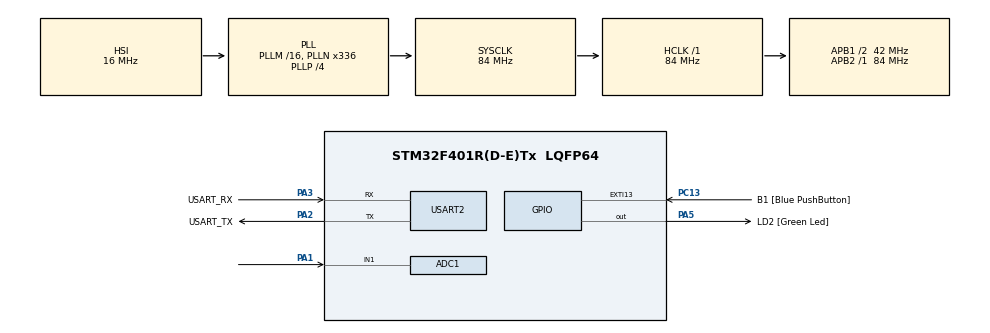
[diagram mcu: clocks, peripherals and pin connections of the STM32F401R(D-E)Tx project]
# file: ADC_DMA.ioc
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ADC1.Channel-0\#ChannelRegularConversion=ADC_CHANNEL_1
ADC1.Channel-1\#ChannelInjectedConversion=ADC_CHANNEL_1
ADC1.Channel-2\#ChannelInjectedConversion=ADC_CHANNEL_1
ADC1.Channel-3\#ChannelInjectedConversion=ADC_CHANNEL_1
ADC1.Channel-4\#ChannelRegularConversion=ADC_CHANNEL_TEMPSENSOR
ADC1.Channel-5\#ChannelRegularConversion=ADC_CHANNEL_VREFINT
ADC1.InjNumberOfConversion=3
ADC1.InjectedOffset-1\#ChannelInjectedConversion=0
ADC1.InjectedOffset-2\#ChannelInjectedConversion=0
ADC1.InjectedOffset-3\#ChannelInjectedConversion=0
ADC1.InjectedRank-1\#ChannelInjectedConversion=1
ADC1.InjectedRank-2\#ChannelInjectedConversion=2
ADC1.InjectedRank-3\#ChannelInjectedConversion=3
ADC1.NbrOfConversion=3
ADC1.NbrOfConversionFlag=1
ADC1.Rank-0\#ChannelRegularConversion=1
ADC1.Rank-4\#ChannelRegularConversion=2
ADC1.Rank-5\#ChannelRegularConversion=3
ADC1.SamplingTime-0\#ChannelRegularConversion=ADC_SAMPLETIME_480CYCLES
ADC1.SamplingTime-1\#ChannelInjectedConversion=ADC_SAMPLETIME_3CYCLES
ADC1.SamplingTime-2\#ChannelInjectedConversion=ADC_SAMPLETIME_3CYCLES
ADC1.SamplingTime-3\#ChannelInjectedConversion=ADC_SAMPLETIME_3CYCLES
ADC1.SamplingTime-4\#ChannelRegularConversion=ADC_SAMPLETIME_3CYCLES
ADC1.SamplingTime-5\#ChannelRegularConversion=ADC_SAMPLETIME_3CYCLES
ADC1.master=1
Dma.ADC1.0.Direction=DMA_PERIPH_TO_MEMORY
Dma.ADC1.0.FIFOMode=DMA_FIFOMODE_DISABLE
Dma.ADC1.0.Instance=DMA2_Stream0
Dma.ADC1.0.MemDataAlignment=DMA_MDATAALIGN_HALFWORD
Dma.ADC1.0.MemInc=DMA_MINC_ENABLE
Dma.ADC1.0.Mode=DMA_CIRCULAR
Dma.ADC1.0.PeriphDataAlignment=DMA_PDATAALIGN_HALFWORD
Dma.ADC1.0.PeriphInc=DMA_PINC_DISABLE
Dma.ADC1.0.Priority=DMA_PRIORITY_LOW
Dma.Request0=ADC1
Mcu.Family=STM32F4
Mcu.Name=STM32F401R(D-E)Tx
Mcu.Package=LQFP64
NVIC.ADC_IRQn=true\:0\:0\:false\:false\:true\:true\:true
NVIC.DMA2_Stream0_IRQn=true\:0\:0\:false\:false\:true\:false\:true
NVIC.PriorityGroup=NVIC_PRIORITYGROUP_0
NVIC.USART2_IRQn=true\:0\:0\:false\:false\:true\:true\:true
PA1.Signal=ADCx_IN1
PA13.GPIO_Label=TMS
PA13.Mode=Serial_Wire
PA13.Signal=SYS_JTMS-SWDIO
PA14.GPIO_Label=TCK
PA14.Mode=Serial_Wire
PA14.Signal=SYS_JTCK-SWCLK
PA2.GPIO_Label=USART_TX
PA2.GPIO_Mode=GPIO_MODE_AF_PP
PA2.GPIO_PuPd=GPIO_NOPULL
PA2.GPIO_Speed=GPIO_SPEED_FREQ_LOW
PA2.Mode=Asynchronous
PA2.Signal=USART2_TX
PA3.GPIO_Label=USART_RX
PA3.GPIO_Mode=GPIO_MODE_AF_PP
PA3.GPIO_PuPd=GPIO_NOPULL
PA3.GPIO_Speed=GPIO_SPEED_FREQ_LOW
PA3.Mode=Asynchronous
PA3.Signal=USART2_RX
PA5.GPIO_Label=LD2 [Green Led]
PA5.GPIO_Mode=GPIO_MODE_OUTPUT_PP
PA5.GPIO_PuPd=GPIO_NOPULL
PA5.GPIO_Speed=GPIO_SPEED_FREQ_LOW
PA5.Signal=GPIO_Output
PB3.GPIO_Label=SWO
PB3.Signal=SYS_JTDO-SWO
PC13-ANTI_TAMP.GPIO_Label=B1 [Blue PushButton]
PC13-ANTI_TAMP.GPIO_ModeDefaultEXTI=GPIO_MODE_IT_FALLING
PC13-ANTI_TAMP.GPIO_PuPd=GPIO_NOPULL
PC13-ANTI_TAMP.Signal=GPXTI13
PC14-OSC32_IN.Mode=LSE-External-Oscillator
PC14-OSC32_IN.Signal=RCC_OSC32_IN
PC15-OSC32_OUT.Mode=LSE-External-Oscillator
PC15-OSC32_OUT.Signal=RCC_OSC32_OUT
PH0\ -\ OSC_IN.Mode=HSE-External-Clock-Source
PH0\ -\ OSC_IN.Signal=RCC_OSC_IN
PH1\ -\ OSC_OUT.Mode=HSE-External-Clock-Source
PH1\ -\ OSC_OUT.Signal=RCC_OSC_OUT
ProjectManager.HeapSize=0x200
ProjectManager.StackSize=0x400
ProjectManager.TargetToolchain=STM32CubeIDE
RCC.48MHZClocksFreq_Value=48000000
RCC.AHBFreq_Value=84000000
RCC.APB1CLKDivider=RCC_HCLK_DIV2
RCC.APB1Freq_Value=42000000
RCC.APB1TimFreq_Value=84000000
RCC.APB2Freq_Value=84000000
RCC.APB2TimFreq_Value=84000000
RCC.CortexFreq_Value=84000000
RCC.HCLKFreq_Value=84000000
RCC.HSE_VALUE=8000000
RCC.HSI_VALUE=16000000
RCC.PLLN=336
RCC.PLLP=RCC_PLLP_DIV4
RCC.PLLQ=7
RCC.SYSCLKFreq_VALUE=84000000
RCC.SYSCLKSource=RCC_SYSCLKSOURCE_PLLCLK
RCC.VCOOutputFreq_Value=336000000
SH.ADCx_IN1.0=ADC1_IN1,IN1
USART2.VirtualMode=VM_ASYNC
VP_ADC1_TempSens_Input.Mode=IN-TempSens
VP_ADC1_Vref_Input.Mode=IN-Vrefint
board=NUCLEO-F401RE

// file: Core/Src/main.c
/* USER CODE BEGIN Header */
/**
  ******************************************************************************
  * @file           : main.c
  * @brief          : Main program body
  ******************************************************************************
  * @attention
  *
  * <h2><center>&copy; Copyright (c) 2021 STMicroelectronics.
  * All rights reserved.</center></h2>
  *
  * This software component is licensed by ST under BSD 3-Clause license,
  * the "License"; You may not use this file except in compliance with the
  * License. You may obtain a copy of the License at:
  *                        opensource.org/licenses/BSD-3-Clause
  *
  ******************************************************************************
  */
/* USER CODE END Header */
#include "main.h"

/* USER CODE BEGIN PM */
#define V25 0.76
#define AVG_SLOPE 0.0025
/* USER CODE END PM */

ADC_HandleTypeDef hadc1;
DMA_HandleTypeDef hdma_adc1;

UART_HandleTypeDef huart2;

/* USER CODE BEGIN PV */
uint16_t ADC_results[3];
/* USER CODE END PV */

void SystemClock_Config(void);
static void MX_GPIO_Init(void);
static void MX_USART2_UART_Init(void);
static void MX_DMA_Init(void);
static void MX_ADC1_Init(void);

/* USER CODE BEGIN 0 */

void HAL_ADC_ConvCpltCallback(ADC_HandleTypeDef* hadc){
	char buffer[100];
	//We don't need to use HAL_ADC_GetValue(), since the DMA already stored the values in the array
	uint16_t potentiometer = ADC_results[0];
	uint16_t temperature = ADC_results[1];
	uint16_t reference = ADC_results[2];

	//Conversion to voltage and to celsius
	float pot_voltage =  potentiometer * 3.3 / 4096.0;
	float temp_voltage = temperature * 3.3 / 4096.0;
	float ref_voltage = reference * 3.3 / 4096.0;
	float temp_celsius = (temp_voltage - V25)/AVG_SLOPE + 25; //Formula found in the slideset

	int length = snprintf(buffer, sizeof(buffer), "Pot: %.3f V\r\nTemp: %.3f C\r\nRef: %.3f V\r\n\r\n", pot_voltage, temp_celsius, ref_voltage);
	HAL_UART_Transmit(&huart2, (uint8_t*)buffer, length, 100);
}
/* USER CODE END 0 */

int main(void)
{

  /* MCU Configuration--------------------------------------------------------*/

  /* Reset of all peripherals, Initializes the Flash interface and the Systick. */
  HAL_Init();

  /* Configure the system clock */
  SystemClock_Config();

  /* Initialize all configured peripherals */
  MX_GPIO_Init();
  MX_USART2_UART_Init();
  MX_DMA_Init();
  MX_ADC1_Init();
  /* USER CODE BEGIN 2 */

  char buffer[100];
  /* USER CODE END 2 */

  /* Infinite loop */
  /* USER CODE BEGIN WHILE */
  while (1)
  {
	  /*
	   * In the .ioc file, we have to enable the ADC channels which are:
	   * 	- IN1
	   * 	- Temperature Sensor Channel
	   * 	- Vreint Channel
	   * Then we have to change the 3 channel ranks accordingly, and also add a new DMA request in Circular mode.
	   * Finally, through HAL_ADC_Start_DMA() we store the values into a vector of 3 elements and we do
	   * our calculations in the callback.
	   */
	  HAL_ADC_Start_DMA(&hadc1, ADC_results, sizeof(ADC_results)/sizeof(ADC_results[0]));
	  HAL_Delay(1000);

    /* USER CODE END WHILE */

  }
}

void SystemClock_Config(void)
{
  RCC_OscInitTypeDef RCC_OscInitStruct = {0};
  RCC_ClkInitTypeDef RCC_ClkInitStruct = {0};

  /** Configure the main internal regulator output voltage
  */
  __HAL_RCC_PWR_CLK_ENABLE();
  __HAL_PWR_VOLTAGESCALING_CONFIG(PWR_REGULATOR_VOLTAGE_SCALE2);
  /** Initializes the RCC Oscillators according to the specified parameters
  * in the RCC_OscInitTypeDef structure.
  */
  RCC_OscInitStruct.OscillatorType = RCC_OSCILLATORTYPE_HSI;
  RCC_OscInitStruct.HSIState = RCC_HSI_ON;
  RCC_OscInitStruct.HSICalibrationValue = RCC_HSICALIBRATION_DEFAULT;
  RCC_OscInitStruct.PLL.PLLState = RCC_PLL_ON;
  RCC_OscInitStruct.PLL.PLLSource = RCC_PLLSOURCE_HSI;
  RCC_OscInitStruct.PLL.PLLM = 16;
  RCC_OscInitStruct.PLL.PLLN = 336;
  RCC_OscInitStruct.PLL.PLLP = RCC_PLLP_DIV4;
  RCC_OscInitStruct.PLL.PLLQ = 7;
  if (HAL_RCC_OscConfig(&RCC_OscInitStruct) != HAL_OK)
  {
    Error_Handler();
  }
  /** Initializes the CPU, AHB and APB buses clocks
  */
  RCC_ClkInitStruct.ClockType = RCC_CLOCKTYPE_HCLK|RCC_CLOCKTYPE_SYSCLK
                              |RCC_CLOCKTYPE_PCLK1|RCC_CLOCKTYPE_PCLK2;
  RCC_ClkInitStruct.SYSCLKSource = RCC_SYSCLKSOURCE_PLLCLK;
  RCC_ClkInitStruct.AHBCLKDivider = RCC_SYSCLK_DIV1;
  RCC_ClkInitStruct.APB1CLKDivider = RCC_HCLK_DIV2;
  RCC_ClkInitStruct.APB2CLKDivider = RCC_HCLK_DIV1;

  if (HAL_RCC_ClockConfig(&RCC_ClkInitStruct, FLASH_LATENCY_2) != HAL_OK)
  {
    Error_Handler();
  }
}

static void MX_ADC1_Init(void)
{

  ADC_ChannelConfTypeDef sConfig = {0};
  ADC_InjectionConfTypeDef sConfigInjected = {0};

  /** Configure the global features of the ADC (Clock, Resolution, Data Alignment and number of conversion)
  */
  hadc1.Instance = ADC1;
  hadc1.Init.ClockPrescaler = ADC_CLOCK_SYNC_PCLK_DIV4;
  hadc1.Init.Resolution = ADC_RESOLUTION_12B;
  hadc1.Init.ScanConvMode = ENABLE;
  hadc1.Init.ContinuousConvMode = DISABLE;
  hadc1.Init.DiscontinuousConvMode = DISABLE;
  hadc1.Init.ExternalTrigConvEdge = ADC_EXTERNALTRIGCONVEDGE_NONE;
  hadc1.Init.ExternalTrigConv = ADC_SOFTWARE_START;
  hadc1.Init.DataAlign = ADC_DATAALIGN_RIGHT;
  hadc1.Init.NbrOfConversion = 3;
  hadc1.Init.DMAContinuousRequests = DISABLE;
  hadc1.Init.EOCSelection = ADC_EOC_SINGLE_CONV;
  if (HAL_ADC_Init(&hadc1) != HAL_OK)
  {
    Error_Handler();
  }
  /** Configure for the selected ADC regular channel its corresponding rank in the sequencer and its sample time.
  */
  sConfig.Channel = ADC_CHANNEL_1;
  sConfig.Rank = 1;
  sConfig.SamplingTime = ADC_SAMPLETIME_480CYCLES;
  if (HAL_ADC_ConfigChannel(&hadc1, &sConfig) != HAL_OK)
  {
    Error_Handler();
  }
  /** Configure for the selected ADC regular channel its corresponding rank in the sequencer and its sample time.
  */
  sConfig.Channel = ADC_CHANNEL_TEMPSENSOR;
  sConfig.Rank = 2;
  sConfig.SamplingTime = ADC_SAMPLETIME_3CYCLES;
  if (HAL_ADC_ConfigChannel(&hadc1, &sConfig) != HAL_OK)
  {
    Error_Handler();
  }
  /** Configure for the selected ADC regular channel its corresponding rank in the sequencer and its sample time.
  */
  sConfig.Channel = ADC_CHANNEL_VREFINT;
  sConfig.Rank = 3;
  if (HAL_ADC_ConfigChannel(&hadc1, &sConfig) != HAL_OK)
  {
    Error_Handler();
  }
  /** Configures for the selected ADC injected channel its corresponding rank in the sequencer and its sample time
  */
  sConfigInjected.InjectedChannel = ADC_CHANNEL_1;
  sConfigInjected.InjectedRank = 1;
  sConfigInjected.InjectedNbrOfConversion = 3;
  sConfigInjected.InjectedSamplingTime = ADC_SAMPLETIME_3CYCLES;
  sConfigInjected.ExternalTrigInjecConvEdge = ADC_EXTERNALTRIGINJECCONVEDGE_NONE;
  sConfigInjected.ExternalTrigInjecConv = ADC_INJECTED_SOFTWARE_START;
  sConfigInjected.AutoInjectedConv = DISABLE;
  sConfigInjected.InjectedDiscontinuousConvMode = DISABLE;
  sConfigInjected.InjectedOffset = 0;
  if (HAL_ADCEx_InjectedConfigChannel(&hadc1, &sConfigInjected) != HAL_OK)
  {
    Error_Handler();
  }
  /** Configures for the selected ADC injected channel its corresponding rank in the sequencer and its sample time
  */
  sConfigInjected.InjectedRank = 2;
  if (HAL_ADCEx_InjectedConfigChannel(&hadc1, &sConfigInjected) != HAL_OK)
  {
    Error_Handler();
  }
  /** Configures for the selected ADC injected channel its corresponding rank in the sequencer and its sample time
  */
  sConfigInjected.InjectedRank = 3;
  if (HAL_ADCEx_InjectedConfigChannel(&hadc1, &sConfigInjected) != HAL_OK)
  {
    Error_Handler();
  }

}

static void MX_USART2_UART_Init(void)
{

  huart2.Instance = USART2;
  huart2.Init.BaudRate = 115200;
  huart2.Init.WordLength = UART_WORDLENGTH_8B;
  huart2.Init.StopBits = UART_STOPBITS_1;
  huart2.Init.Parity = UART_PARITY_NONE;
  huart2.Init.Mode = UART_MODE_TX_RX;
  huart2.Init.HwFlowCtl = UART_HWCONTROL_NONE;
  huart2.Init.OverSampling = UART_OVERSAMPLING_16;
  if (HAL_UART_Init(&huart2) != HAL_OK)
  {
    Error_Handler();
  }

}

static void MX_DMA_Init(void)
{

  /* DMA controller clock enable */
  __HAL_RCC_DMA2_CLK_ENABLE();

  /* DMA interrupt init */
  /* DMA2_Stream0_IRQn interrupt configuration */
  HAL_NVIC_SetPriority(DMA2_Stream0_IRQn, 0, 0);
  HAL_NVIC_EnableIRQ(DMA2_Stream0_IRQn);

}

static void MX_GPIO_Init(void)
{
  GPIO_InitTypeDef GPIO_InitStruct = {0};

  /* GPIO Ports Clock Enable */
  __HAL_RCC_GPIOC_CLK_ENABLE();
  __HAL_RCC_GPIOH_CLK_ENABLE();
  __HAL_RCC_GPIOA_CLK_ENABLE();
  __HAL_RCC_GPIOB_CLK_ENABLE();

  /*Configure GPIO pin Output Level */
  HAL_GPIO_WritePin(LD2_GPIO_Port, LD2_Pin, GPIO_PIN_RESET);

  /*Configure GPIO pin : B1_Pin */
  GPIO_InitStruct.Pin = B1_Pin;
  GPIO_InitStruct.Mode = GPIO_MODE_IT_FALLING;
  GPIO_InitStruct.Pull = GPIO_NOPULL;
  HAL_GPIO_Init(B1_GPIO_Port, &GPIO_InitStruct);

  /*Configure GPIO pin : LD2_Pin */
  GPIO_InitStruct.Pin = LD2_Pin;
  GPIO_InitStruct.Mode = GPIO_MODE_OUTPUT_PP;
  GPIO_InitStruct.Pull = GPIO_NOPULL;
  GPIO_InitStruct.Speed = GPIO_SPEED_FREQ_LOW;
  HAL_GPIO_Init(LD2_GPIO_Port, &GPIO_InitStruct);

}

void Error_Handler(void)
{
  __disable_irq();
  while (1)
  {
  }
}

/************************ (C) COPYRIGHT STMicroelectronics *****END OF FILE****/
